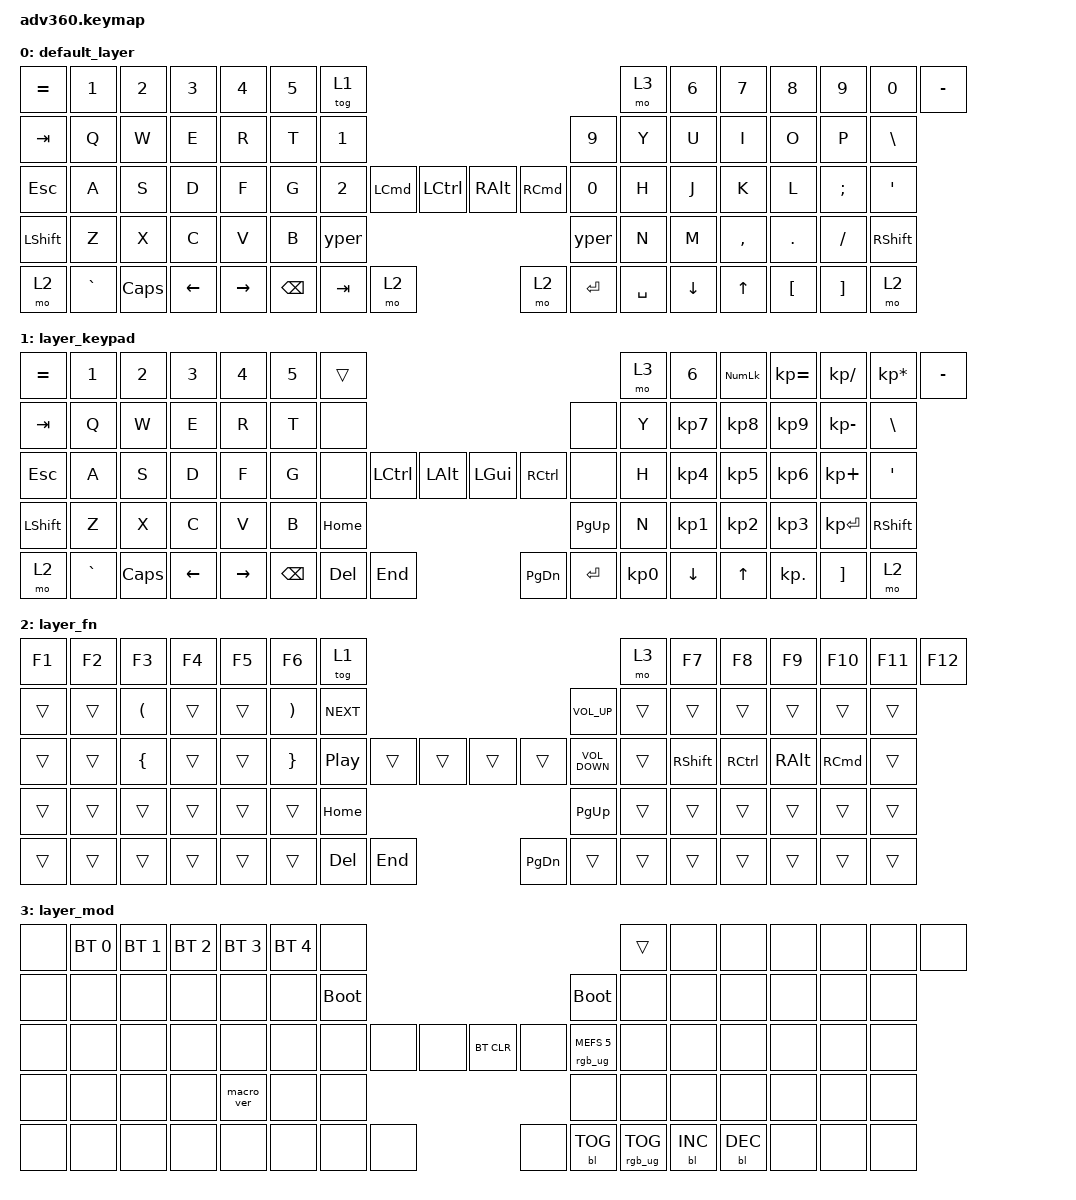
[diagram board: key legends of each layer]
/*
 * Copyright (c) 2020 The ZMK Contributors
 *
 * SPDX-License-Identifier: MIT
 */


/* THIS FILE WAS GENERATED!
 *
 * This file was generated automatically. You may or may not want to
 * edit it directly.
 */

#include <behaviors.dtsi>
#include <dt-bindings/zmk/keys.h>
#include <dt-bindings/zmk/bt.h>
#include <dt-bindings/zmk/rgb.h>
#include <dt-bindings/zmk/backlight.h>

/ {
  behaviors {
    #include "macros.dtsi"
    #include "version.dtsi"

    hm: homerow_mods {
        compatible = "zmk,behavior-hold-tap";
        label = "HOMEROW_MODS";
        #binding-cells = <2>;
        tapping-term-ms = <200>;
        quick_tap_ms = <175>;
        flavor = "tap-preferred";
        bindings = <&kp>, <&kp>;
    };

    hyper: hyper {
      compatible = "zmk,behavior-mod-morph";
      label = "HYPER";
      #binding-cells = <0>;
      bindings = <&kp LC(LS(LA(LGUI)))>, <&none>;
      mods = <(MOD_LSFT|MOD_LCTL|MOD_LALT|MOD_LGUI)>;
    };

    yper: yper {
      compatible = "zmk,behavior-mod-morph";
      label = "MEH";
      #binding-cells = <0>;
      bindings = <&kp LC(LA(LGUI))>, <&none>;
      mods = <(MOD_LCTL|MOD_LALT|MOD_LGUI)>;
    };
  };

    keymap {
        compatible = "zmk,keymap";


        default_layer {
            bindings = <
 &kp EQUAL     &kp N1    &kp N2    &kp N3     &kp N4  &kp N5                   &tog 1                                                                                           &mo 3  &kp N6    &kp N7     &kp N8    &kp N9    &kp N0  &kp MINUS
   &kp TAB      &kp Q     &kp W     &kp E      &kp R   &kp T             &kp NUMBER_1                                                                                    &kp NUMBER_9   &kp Y     &kp U      &kp I     &kp O     &kp P   &kp BSLH
   &kp ESC      &kp A     &kp S     &kp D      &kp F   &kp G             &kp NUMBER_2  &kp LEFT_COMMAND  &kp LEFT_CONTROL                  &kp RIGHT_ALT  &kp RIGHT_COMMAND  &kp NUMBER_0   &kp H     &kp J      &kp K     &kp L  &kp SEMI    &kp SQT
 &kp LSHFT      &kp Z     &kp X     &kp C      &kp V   &kp B                                                  &yper                        &yper                                    &kp N     &kp M  &kp COMMA   &kp DOT  &kp FSLH  &kp RSHFT
     &mo 2  &kp GRAVE  &kp CAPS  &kp LEFT  &kp RIGHT                    &kp BSPC  &kp TAB         &mo 2                          &mo 2          &kp ENTER     &kp SPACE          &kp DOWN     &kp UP  &kp LBKT  &kp RBKT      &mo 2
            >;
        };

        layer_keypad {
            bindings = <
 &kp EQUAL     &kp N1    &kp N2    &kp N3     &kp N4  &kp N5              &trans                                                                                &mo 3  &kp N6  &kp KP_NUM  &kp KP_EQUAL  &kp KP_DIVIDE  &kp KP_MULTIPLY  &kp MINUS
   &kp TAB      &kp Q     &kp W     &kp E      &kp R   &kp T               &none                                                                                &none   &kp Y   &kp KP_N7     &kp KP_N8      &kp KP_N9     &kp KP_MINUS   &kp BSLH
   &kp ESC      &kp A     &kp S     &kp D      &kp F   &kp G               &none  &kp LCTRL  &kp LALT                   &kp LGUI  &kp RCTRL      &none   &kp H   &kp KP_N4     &kp KP_N5      &kp KP_N6      &kp KP_PLUS    &kp SQT
 &kp LSHFT      &kp Z     &kp X     &kp C      &kp V   &kp B                                        &kp HOME                  &kp PG_UP                                 &kp N   &kp KP_N1     &kp KP_N2      &kp KP_N3     &kp KP_ENTER  &kp RSHFT
     &mo 2  &kp GRAVE  &kp CAPS  &kp LEFT  &kp RIGHT                    &kp BSPC           &kp DEL   &kp END                  &kp PG_DN          &kp ENTER  &kp KP_N0            &kp DOWN        &kp UP     &kp KP_DOT         &kp RBKT      &mo 2
            >;
        };

        layer_fn {
            bindings = <
 &kp F1  &kp F2    &kp F3  &kp F4  &kp F5    &kp F6                      &tog 1                                                              &mo 3  &kp F7           &kp F8             &kp F9        &kp F10            &kp F11  &kp F12
 &trans  &trans  &kp LPAR  &trans  &trans  &kp RPAR                  &kp C_NEXT                                                    &kp C_VOLUME_UP  &trans           &trans             &trans         &trans             &trans   &trans
 &trans  &trans  &kp LBRC  &trans  &trans  &kp RBRC            &kp C_PLAY_PAUSE  &trans  &trans                  &trans  &trans  &kp C_VOLUME_DOWN  &trans  &kp RIGHT_SHIFT  &kp RIGHT_CONTROL  &kp RIGHT_ALT  &kp RIGHT_COMMAND   &trans
 &trans  &trans    &trans  &trans  &trans    &trans                                      &kp HOME                  &kp PG_UP                             &trans           &trans             &trans         &trans             &trans   &trans
 &trans  &trans    &trans  &trans  &trans                                &trans  &kp DEL  &kp END                  &kp PG_DN  &trans             &trans                   &trans             &trans         &trans             &trans   &trans
            >;
        };

        layer_mod {
            bindings = <
  &none  &bt BT_SEL 0  &bt BT_SEL 1  &bt BT_SEL 2  &bt BT_SEL 3  &bt BT_SEL 4                  &none                                                                          &trans   &none       &none       &none   &none   &none   &none
  &none         &none         &none         &none         &none         &none            &bootloader                                                                     &bootloader   &none       &none       &none   &none   &none   &none
  &none         &none         &none         &none         &none         &none                  &none   &none   &none                  &bt BT_CLR       &none  &rgb_ug RGB_MEFS_CMD 5   &none       &none       &none   &none   &none   &none
  &none         &none         &none         &none    &macro_ver         &none                                  &none                       &none                                       &none       &none       &none   &none   &none   &none
  &none         &none         &none         &none         &none                                &none   &none   &none                       &none  &bl BL_TOG         &rgb_ug RGB_TOG          &bl BL_INC  &bl BL_DEC   &none   &none   &none
            >;
        };

    };
};
